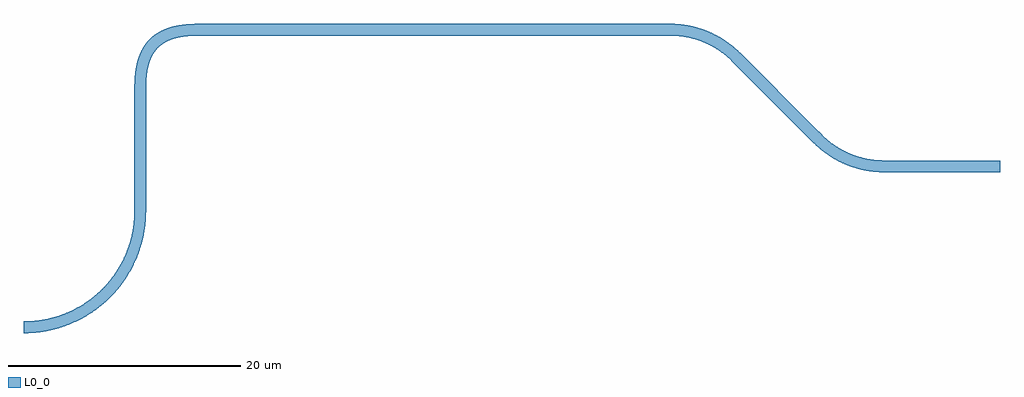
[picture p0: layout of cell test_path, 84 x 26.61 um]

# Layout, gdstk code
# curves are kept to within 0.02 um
import gdstk
lib = gdstk.Library(unit=1e-6, precision=1e-09)
def P(c, l, *ps):  # polygons
    for p in ps: c.add(gdstk.Polygon(p, *l))
L0_0 = (0, 0)

test_path = lib.new_cell('test_path')
P(test_path, L0_0, [(0.092,-0.5),(0.737,-0.474),(1.469,-0.397),(2.105,-0.287),(2.821,-0.114),(3.437,0.078),(4.039,0.308),(4.627,0.574),(5.277,0.922),(6.202,1.527),(7.058,2.226),(7.058,3.641),(6.386,2.966),(5.611,2.334),(4.702,1.745),(3.884,1.33),(2.952,0.97),(1.986,0.71),(0.916,0.544),(0,0.5),(0,-0.5)],
  [(7.126,2.288),(7.836,3.011),(8.473,3.798),(9.078,4.723),(9.528,5.588),(9.528,21.346),(9.5,20.344),(9.5,9.917),(9.418,8.753),(9.29,8.014),(9.128,7.367),(8.892,6.655),(8.6,5.964),(8.296,5.371),(7.951,4.8),(7.516,4.189),(7.058,3.641),(7.058,2.226)],
  [(9.544,5.623),(9.922,6.563),(10.207,7.535),(10.397,8.531),(10.49,9.539),(10.501,24.409),(10.11,23.78),(9.806,23.017),(9.625,22.235),(9.528,21.346)],
  [(10.501,20.47),(10.544,21.534),(10.682,22.426),(10.915,23.142),(11.078,23.471),(11.275,23.774),(11.275,25.164),(10.893,24.848),(10.501,24.409)],
  [(11.288,23.792),(11.663,24.197),(12.12,24.521),(12.641,24.765),(13.302,24.954),(13.302,25.972),(12.788,25.86),(12.235,25.68),(11.751,25.459),(11.275,25.164)],
  [(13.325,24.959),(14.225,25.078),(15.218,25.11),(55.676,25.11),(55.676,26.11),(14.701,26.102),(13.932,26.057),(13.302,25.972),(13.302,24.954)],
  [(68.092,17.15),(61.514,23.726),(61.068,24.127),(60.594,24.496),(60.096,24.83),(59.576,25.129),(58.967,25.42),(58.265,25.685),(57.689,25.852),(57.029,25.991),(56.359,26.077),(55.676,26.11),(55.676,25.11),(56.337,25.075),(56.927,24.994),(57.573,24.849),(58.203,24.648),(58.753,24.42),(59.284,24.149),(59.846,23.8),(60.375,23.403),(60.867,22.96),(68.092,15.737)],
  [(83.995,14.353),(73.929,14.353),(73.268,14.388),(72.678,14.469),(72.033,14.614),(71.402,14.815),(70.792,15.071),(70.207,15.38),(69.651,15.739),(69.18,16.103),(68.092,17.15),(68.092,15.737),(68.595,15.288),(69.509,14.633),(70.433,14.135),(71.411,13.755),(72.429,13.498),(73.171,13.393),(73.92,13.353),(83.995,13.353)])

lib.write_gds('test_path.gds')
